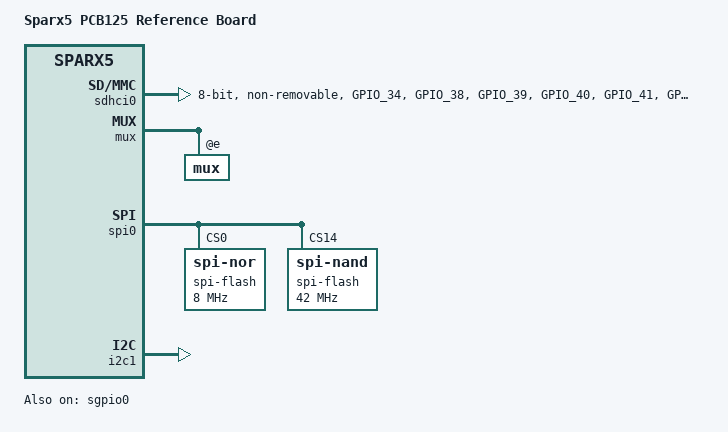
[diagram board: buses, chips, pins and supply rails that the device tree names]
// SPDX-License-Identifier: (GPL-2.0+ OR MIT)
/*
 * Copyright (c) 2020 Microchip Technology Inc. and its subsidiaries.
 */

/dts-v1/;
#include "sparx5_pcb_common.dtsi"
#include "sparx5_appl_pcb_common.dtsi"

/ {
	model = "Sparx5 PCB125 Reference Board";
	compatible = "microchip,sparx5-pcb125", "microchip,sparx5";

	memory@0 {
		device_type = "memory";
		reg = <0x00000000 0x00000000 0x10000000>;
	};
};

&gpio {
	emmc_pins: emmc-pins {
		/* NB: No "GPIO_35", "GPIO_36", "GPIO_37"
		 * (N/A: CARD_nDETECT, CARD_WP, CARD_LED)
		 */
		pins = "GPIO_34", "GPIO_38", "GPIO_39",
			"GPIO_40", "GPIO_41", "GPIO_42",
			"GPIO_43", "GPIO_44", "GPIO_45",
			"GPIO_46", "GPIO_47";
		drive-strength = <3>;
		function = "emmc";
	};
};

&sdhci0 {
	status = "okay";
	bus-width = <8>;
	non-removable;
	pinctrl-0 = <&emmc_pins>;
	max-frequency = <8000000>;
	microchip,clock-delay = <10>;
};

&gpio {
	cs14_pins: cs14-pins {
		pins = "GPIO_44";
		function = "si";
	};
};

&mux {
	/* CS14 (NAND) is on SPI2 */
	mux@e {
		reg = <14>;
		microchip,bus-interface = <1>;
	};
};

&spi0 {
	status = "okay";
	pinctrl-0 = <&si2_pins>;
	pinctrl-names = "default";
	spi-flash@0 {
		compatible = "jedec,spi-nor";
		spi-max-frequency = <8000000>;
		reg = <0>;
	};
	spi-flash@e {
		compatible = "spi-nand";
		pinctrl-0 = <&cs14_pins>;
		pinctrl-names = "default";
		spi-max-frequency = <42000000>;
		reg = <14>;
		rx-sample-delay-ns = <7>;  /* Tune for speed */
	};
};

&sgpio0 {
	status = "okay";
	microchip,sgpio-port-ranges = <0 23>;
};

&i2c1 {
	status = "okay";
};

&switch {
	status = "disabled";
	/delete-property/ resets;
	/delete-property/ reset-names;
	/delete-node/ ethernet-ports;
};
